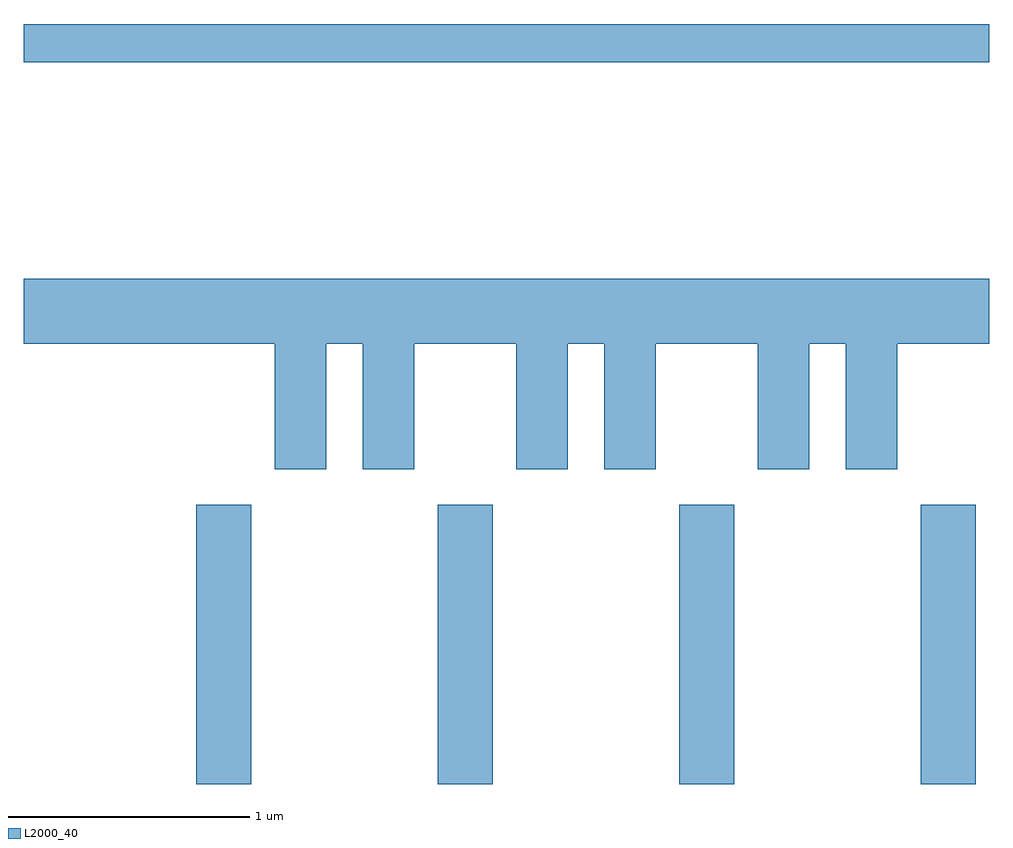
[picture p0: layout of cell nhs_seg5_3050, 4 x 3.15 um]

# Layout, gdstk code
import gdstk
lib = gdstk.Library(unit=1e-6, precision=1e-09)
def R(c, l, rs):  # rectangles x0, y0, x1, y1
    for r in rs: c.add(gdstk.rectangle(r[:2], r[2:], *l))
def A(c, l, x, y, w, h, nx, ny, dx, dy):  # array of equal rectangles
    R(c, l, [(x+i*dx, y+j*dy, x+i*dx+w, y+j*dy+h) for i in range(nx) for j in range(ny)])
def P(c, l, *ps):  # polygons
    for p in ps: c.add(gdstk.Polygon(p, *l))
L2000_40 = (2000, 40)

nhs_seg5_3050 = lib.new_cell('nhs_seg5_3050')
A(nhs_seg5_3050, L2000_40, 276.326, 1466.072, 0.228, 1.157, 4, 1, 1, 0)
R(nhs_seg5_3050, L2000_40, [(275.611,1469.061,279.611,1469.219)])
P(nhs_seg5_3050, L2000_40, [(276.864,1467.896),(277.016,1467.896),(277.016,1467.376),(277.229,1467.376),(277.229,1467.896),(277.651,1467.896),(277.651,1467.376),(277.864,1467.376),(277.864,1467.896),(278.016,1467.896),(278.016,1467.376),(278.229,1467.376),(278.229,1467.896),(278.651,1467.896),(278.651,1467.376),(278.864,1467.376),(278.864,1467.896),(279.016,1467.896),(279.016,1467.376),(279.229,1467.376),(279.229,1467.896),(279.611,1467.896),(279.611,1468.164),(275.611,1468.164),(275.611,1467.896),(276.651,1467.896),(276.651,1467.376),(276.864,1467.376)])

lib.write_gds('nhs_seg5_3050.gds')
